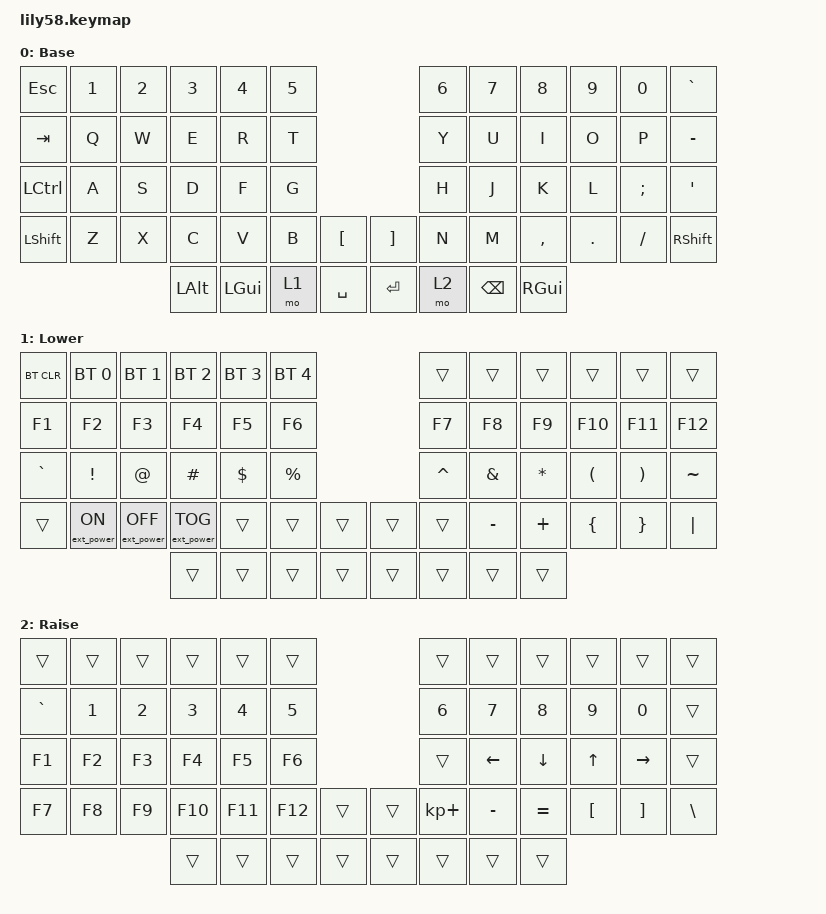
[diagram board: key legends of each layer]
/*
 * Copyright (c) 2020 The ZMK Contributors
 *
 * SPDX-License-Identifier: MIT
 */

#include <behaviors.dtsi>
#include <dt-bindings/zmk/keys.h>
#include <dt-bindings/zmk/bt.h>
#include <dt-bindings/zmk/ext_power.h>
#include <dt-bindings/zmk/outputs.h>


/ {
    chosen {
        zmk,matrix_transform = &default_transform;
    };

    default_transform: keymap_transform_0 {
        compatible = "zmk,matrix-transform";
        columns = <16>;
        rows = <5>;

/* Renamed RC to MX to avoid conflict with Right Control (RC) macro */
#define MX(row, col) (((row) * 16) + (col))

        map = <
/* LEFT HAND */
MX(3,0) MX(3,1) MX(3,2) MX(3,3) MX(3,4) MX(3,5)                         
MX(2,0) MX(2,1) MX(2,2) MX(2,3) MX(2,4) MX(2,5)                         
MX(1,0) MX(1,1) MX(1,2) MX(1,3) MX(1,4) MX(1,5)                         
MX(0,0) MX(0,1) MX(0,2) MX(0,3) MX(0,4) MX(0,5) MX(0,6) 
                        MX(4,3) MX(4,4) MX(4,5) MX(4,7)

/* RIGHT HAND */
                        MX(3,13) MX(3,12) MX(3,11) MX(3,10) MX(3,9) MX(3,8)
                        MX(2,13) MX(2,12) MX(2,11) MX(2,10) MX(2,9) MX(2,8)
                        MX(1,13) MX(1,12) MX(1,11) MX(1,10) MX(1,9) MX(1,8)
MX(0,14) MX(0,13) MX(0,12) MX(0,11) MX(0,10) MX(0,9) MX(0,8)
         MX(4,15) MX(4,13) MX(4,12) MX(4,11)
        >;
    };

    keymap {
        compatible = "zmk,keymap";

        default_layer {
            display-name = "Base";
            bindings = <
&kp ESC   &kp N1 &kp N2 &kp N3   &kp N4   &kp N5                     &kp N6 &kp N7   &kp N8    &kp N9  &kp N0   &kp GRAVE
&kp TAB   &kp Q  &kp W  &kp E    &kp R    &kp T                      &kp Y  &kp U    &kp I     &kp O   &kp P    &kp MINUS
&kp LCTRL &kp A  &kp S  &kp D    &kp F    &kp G                      &kp H  &kp J    &kp K     &kp L   &kp SEMI &kp SQT
&kp LSHFT &kp Z  &kp X  &kp C    &kp V    &kp B  &kp LBKT   &kp RBKT &kp N  &kp M    &kp COMMA &kp DOT &kp FSLH &kp RSHFT
                        &kp LALT &kp LGUI &mo 1  &kp SPACE  &kp RET  &mo 2  &kp BSPC &kp RGUI
            >;
        };

        lower_layer {
            display-name = "Lower";
            bindings = <
&bt BT_CLR &bt BT_SEL 0     &bt BT_SEL 1      &bt BT_SEL 2      &bt BT_SEL 3 &bt BT_SEL 4                     &trans    &trans    &trans    &trans    &trans    &trans
&kp F1     &kp F2           &kp F3            &kp F4            &kp F5       &kp F6                           &kp F7    &kp F8    &kp F9    &kp F10   &kp F11   &kp F12
&kp GRAVE  &kp EXCL         &kp AT            &kp HASH          &kp DOLLAR   &kp PRCNT                        &kp CARET &kp AMPS  &kp ASTRK &kp LPAR  &kp RPAR  &kp TILDE
&trans     &ext_power EP_ON &ext_power EP_OFF &ext_power EP_TOG &trans       &trans    &trans    &trans       &trans    &kp MINUS &kp PLUS  &kp LBRC  &kp RBRC  &kp PIPE
                                              &trans            &trans       &trans    &trans    &trans       &trans    &trans    &trans
            >;
        };

        raise_layer {
            display-name = "Raise";
            bindings = <
&trans    &trans &trans &trans  &trans  &trans                        &trans      &trans    &trans    &trans    &trans    &trans
&kp GRAVE &kp N1 &kp N2 &kp N3  &kp N4  &kp N5                        &kp N6      &kp N7    &kp N8    &kp N9    &kp N0    &trans
&kp F1    &kp F2 &kp F3 &kp F4  &kp F5  &kp F6                        &trans      &kp LEFT  &kp DOWN  &kp UP    &kp RIGHT &trans
&kp F7    &kp F8 &kp F9 &kp F10 &kp F11 &kp F12   &trans    &trans    &kp KP_PLUS &kp MINUS &kp EQUAL &kp LBKT  &kp RBKT  &kp BSLH
                        &trans  &trans  &trans    &trans    &trans    &trans      &trans    &trans
            >;
        };
    };
};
